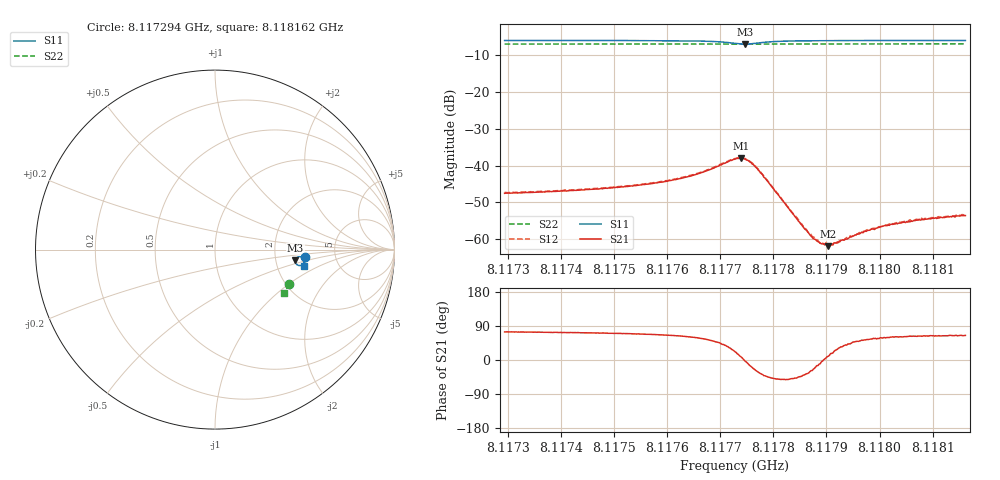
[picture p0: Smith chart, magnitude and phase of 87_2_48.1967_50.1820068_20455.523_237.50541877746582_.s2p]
#  HZ  S  RI  R  50.00
! Rohde & Schwarz Vector Network Analyzer
! Rohde-Schwarz,ZNB20-2Port,1311601062101988,3.16
! Created: UTC 3/20/2024, 11:39:56 AM
! freq[Hz]  re:S11  im:S11  re:S21  im:S21  re:S12  im:S12  re:S22  im:S22
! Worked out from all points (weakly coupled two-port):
!   401 points, 8.117294 GHz to 8.118162 GHz, reference 50 ohm
!   highest |S21| = -38.03 dB at 8.117739 GHz (marker M1); lowest = -62.0 dB at 8.117904 GHz (marker M2)
!   lowest |S11| = -6.9 dB at 8.117748 GHz (marker M3), VSWR 2.65, Z = 129 - j19.5 ohm
!   |S11| at or under -10 dB: nowhere
!   |S22| runs from -6.9 to -6.9 dB; largest |S21 - S12| = 0.00044
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8.1172943e9  0.504 -0.0403  0.00114 0.00403  0.00122 0.0041  0.41 -0.1889
8.1174396e9  0.5021 -0.0533  0.00146 0.00443  0.00149 0.0045  0.4059 -0.1982
8.117522e9  0.5004 -0.0615  0.00179 0.00484  0.00191 0.00491  0.4037 -0.2036
8.1175849e9  0.4979 -0.069  0.00234 0.00541  0.00244 0.00547  0.4017 -0.2078
8.1176218e9  0.4952 -0.0744  0.00291 0.00591  0.00307 0.00597  0.4005 -0.2102
8.1176565e9  0.4904 -0.0807  0.00395 0.00653  0.00417 0.00659  0.3992 -0.2123
8.117728e9  0.4546 -0.0821  0.0113 0.00453  0.0116 0.00458  0.3955 -0.2162
8.1177388e9  0.448 -0.0714  0.0124 0.00194  0.0126 0.00187  0.395 -0.2163
8.1177475e9  0.4473 -0.0602  0.0122 -0.000763  0.0124 -0.000761  0.3949 -0.2163
8.1177605e9  0.4551 -0.0458  0.00985 -0.00355  0.0101 -0.00382  0.395 -0.2166
8.1177735e9  0.4676 -0.04  0.00702 -0.00469  0.00712 -0.00485  0.3952 -0.2173
8.1178061e9  0.488 -0.0456  0.00272 -0.00326  0.00276 -0.00336  0.3952 -0.2197
8.1178559e9  0.4967 -0.0588  0.00112 -0.000952  0.00113 -0.000993  0.3937 -0.2233
8.1178733e9  0.4975 -0.0622  0.000937 -0.000493  0.00096 -0.000501  0.3933 -0.2245
8.1178906e9  0.4981 -0.0651  0.000858 -7e-05  0.000852 -0.000106  0.393 -0.2258
8.1179036e9  0.4983 -0.0672  0.000785 0.000137  0.000844 0.000156  0.3923 -0.2266
8.117908e9  0.4982 -0.0679  0.000785 0.00024  0.000827 0.000256  0.3922 -0.2267
8.1179145e9  0.4985 -0.0688  0.000816 0.000345  0.000804 0.000363  0.3921 -0.2271
8.1179752e9  0.4984 -0.0763  0.00075 0.00102  0.000795 0.00105  0.39 -0.2311
8.1180186e9  0.498 -0.081  0.00078 0.00132  0.00082 0.00138  0.3885 -0.234
8.1180836e9  0.4973 -0.0873  0.000806 0.00165  0.000872 0.00166  0.3863 -0.238
8.1181617e9  0.4962 -0.094  0.000882 0.00188  0.000935 0.0019  0.3837 -0.2428
